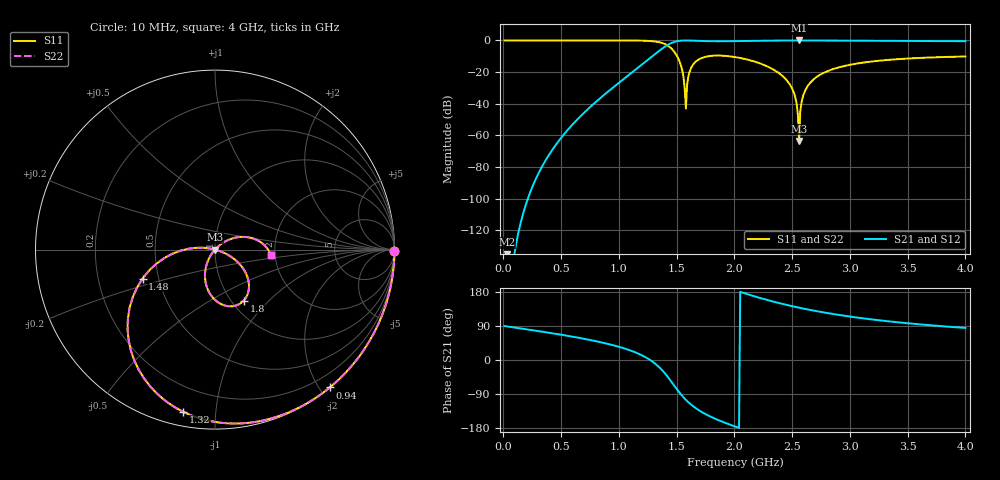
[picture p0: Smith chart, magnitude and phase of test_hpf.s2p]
! AWR Design Environment (18789) Tue Jul  1 17:07:48 2025
! Document = 'hpf'
! nPorts: 2, nXvals: 400
# GHz S DB R 50
!Freq DBS11 AngS11 DBS21 AngS21 DBS12 AngS12 DBS22 AngS22
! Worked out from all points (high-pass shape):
!   400 points, 10 MHz to 4 GHz, reference 50 ohm
!   highest |S21| = 0.00 dB at 2.56 GHz (marker M1); lowest = -184.9 dB at 30 MHz (marker M2)
!   |S21| within 3 dB of the highest: 1.418 GHz to end of sweep
!   lowest |S11| = -63.6 dB at 2.56 GHz (marker M3), VSWR 1.00, Z = 50 + j0.0493 ohm
!   |S11| at or under -10 dB: 1.504 GHz to 1.773 GHz (269 MHz wide, 16.4 % of centre); 1.956 GHz to end of sweep
!   |S22| runs from -63.6 to 0.0 dB; largest |S21 - S12| = 0
!   S11 on the Smith chart (normalised r, x): 10 MHz: open; 940 MHz: 0.00, -2.13; 1.32 GHz: 0.07, -0.82; 1.48 GHz: 0.41, -0.16; 1.8 GHz: 1.14, -0.72; 4 GHz: 1.89, -0.12
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0.01  0.00 -0.4  -232.63 89.6  -232.63 89.6  0.00 -0.4
0.03  0.00 -1.3  -184.92 88.7  -184.92 88.7  0.00 -1.3
0.33  -0.00 -15.0  -80.25 75.0  -80.25 75.0  -0.00 -15.0
0.68  -0.00 -33.0  -46.96 57.0  -46.96 57.0  -0.00 -33.0
0.94  -0.00 -50.2  -30.26 39.8  -30.26 39.8  -0.00 -50.2
1.32  -0.72 -101.3  -8.16 -11.3  -8.16 -11.3  -0.72 -101.3
1.34  -0.96 -106.6  -7.01 -16.6  -7.01 -16.6  -0.96 -106.6
1.48  -7.24 -158.2  -0.91 -68.2  -0.91 -68.2  -7.24 -158.2
1.55  -19.52 174.5  -0.05 -95.5  -0.05 -95.5  -19.52 174.5
1.58  -43.02 -15.3  -0.00 -105.3  -0.00 -105.3  -43.02 -15.3
1.59  -28.03 -18.3  -0.01 -108.3  -0.01 -108.3  -28.03 -18.3
1.62  -18.18 -26.5  -0.07 -116.5  -0.07 -116.5  -18.18 -26.5
1.8  -9.74 -60.5  -0.49 -150.5  -0.49 -150.5  -9.74 -60.5
2.01  -10.54 -85.9  -0.40 -175.9  -0.40 -175.9  -10.54 -85.9
2.46  -25.79 -125.2  -0.01 144.8  -0.01 144.8  -25.79 -125.2
2.54  -40.57 -130.6  -0.00 139.4  -0.00 139.4  -40.57 -130.6
2.56  -63.58 48.0  -0.00 138.0  -0.00 138.0  -63.58 48.0
2.57  -45.03 47.4  -0.00 137.4  -0.00 137.4  -45.03 47.4
2.58  -39.58 46.8  -0.00 136.8  -0.00 136.8  -39.58 46.8
2.67  -25.65 41.3  -0.01 131.3  -0.01 131.3  -25.65 41.3
3.34  -12.23 11.9  -0.27 101.9  -0.27 101.9  -12.23 11.9
4  -10.14 -5.3  -0.44 84.7  -0.44 84.7  -10.14 -5.3
